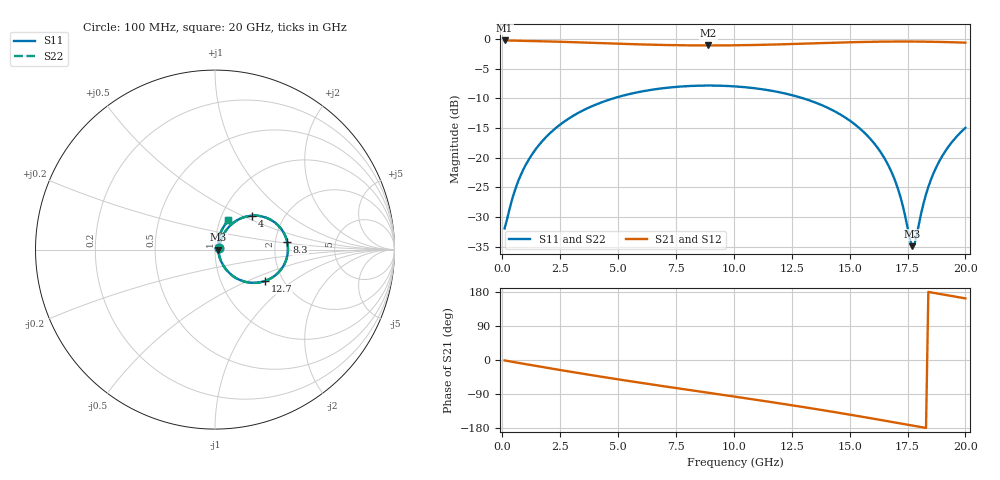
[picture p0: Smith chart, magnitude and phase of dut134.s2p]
! Touchstone file exported from HFSS 2026.1.0
!  File:  C:/ffzhzh/LocalFiles/Ansys_Project_Files/temp_train_TSV_RDL_134_1783049682_46780.aedt
!  Generated:  11:43:38 AM Jul  3, 2026
!  Design:  TSV_RDL
!  Project:  temp_train_TSV_RDL_134_1783049682_46780
! Variables:
!  h_bsmrdl = 2.06um
!  h_ox = 20um
!  h_rdl = 5um
!  h_sub = 81.44um
!  h_tmrdl = 2.47um
!  h_tsv = 81.44um
!  h_via = 3um
!  l_bsmrdl = 624.06um
!  l_sub = 2848.25um
!  l_tmrdl = 120.7um
!  m_sub = 200um
!  pitch = 41.7um
!  r_tsv = 14.6um
!  s_tmrdl = 10um
!  w_bsmrdl = 18.35um
!  w_sub = 500um
!  w_tmrdl = 12.74um
!  x_tsv_center1 = 127.07um
!  x_tsv_center2 = 769.48um
!  x_tsv_center3 = 902.92um
!  x_tsv_center4 = 1545.33um
!  x_tsv_center5 = 1678.77um
!  x_tsv_center6 = 2321.18um
# GHz S MA R 50.000000
! Terminal data exported
! Port[1] = TM_RDL1_1_T1
! Port[2] = TM_RDL5_1_T1
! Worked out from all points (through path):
!   200 points, 100 MHz to 20 GHz, reference 50 ohm
!   highest |S21| = -0.21 dB at 100 MHz (marker M1); lowest = -1.1 dB at 8.9 GHz (marker M2)
!   group delay of S21, straight-line fit = 26.7 ps
!   lowest |S11| = -34.9 dB at 17.7 GHz (marker M3), VSWR 1.04, Z = 51.8 - j0.116 ohm
!   |S11| at or under -10 dB: start of sweep to 4.781 GHz; 13.02 GHz to end of sweep
!   |S22| runs from -35.2 to -7.8 dB; largest |S21 - S12| = 1.7e-14
!   S11 on the Smith chart (normalised r, x): 100 MHz: 1.05, +0.02; 4 GHz: 1.38, +0.57; 8.3 GHz: 2.33, +0.24; 12.7 GHz: 1.62, -0.64; 20 GHz: 1.10, +0.37
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0.1  0.02536 19.5  0.9762 -1.1  0.9762 -1.1  0.02536 19.5
! Gamma 0 0 0 0
! Port Impedance 50 0 50 0
0.6  0.05717 55.8  0.9721 -6.6  0.9721 -6.6  0.05717 55.8
1.3  0.1078 60.5  0.9654 -14.0  0.9654 -14.0  0.1078 60.5
2.2  0.1707 56.6  0.9556 -23.3  0.9556 -23.3  0.1707 56.6
3.5  0.2517 46.8  0.938 -36.5  0.938 -36.5  0.2517 46.8
4  0.2789 42.7  0.9307 -41.4  0.9307 -41.4  0.2789 42.6
6.8  0.383 18.7  0.8956 -67.7  0.8956 -67.7  0.383 18.7
8.3  0.4046 6.0  0.8869 -81.2  0.8869 -81.2  0.4046 6.0
8.9  0.4066 1.0  0.886 -86.5  0.886 -86.5  0.4066 0.9
10.1  0.3993 -9.2  0.8889 -97.2  0.8889 -97.2  0.3993 -9.3
12.7  0.3298 -31.9  0.9131 -121.3  0.9131 -121.3  0.3298 -32.0
13.4  0.2983 -38.2  0.9222 -128.0  0.9222 -128.0  0.2982 -38.3
15.4  0.1794 -55.6  0.9465 -148.3  0.9465 -148.3  0.1794 -55.8
16.1  0.1294 -60.6  0.9524 -155.7  0.9524 -155.7  0.1293 -60.8
16.7  0.08421 -62.5  0.9555 -162.1  0.9555 -162.1  0.0841 -62.9
17.2  0.04636 -57.4  0.9566 -167.4  0.9566 -167.4  0.04615 -58.1
17.7  0.01796 -3.6  0.9562 -172.8  0.9562 -172.8  0.01738 -3.9
17.8  0.01859 20.9  0.9559 -173.9  0.9559 -173.9  0.01803 21.4
18.3  0.04922 67.3  0.9536 -179.3  0.9536 -179.3  0.04901 67.9
18.7  0.08001 71.5  0.9507 176.4  0.9507 176.4  0.07988 71.8
19.3  0.1265 70.0  0.9446 170.0  0.9446 170.0  0.1264 70.2
20  0.1789 65.1  0.9352 162.6  0.9352 162.6  0.1788 65.3
